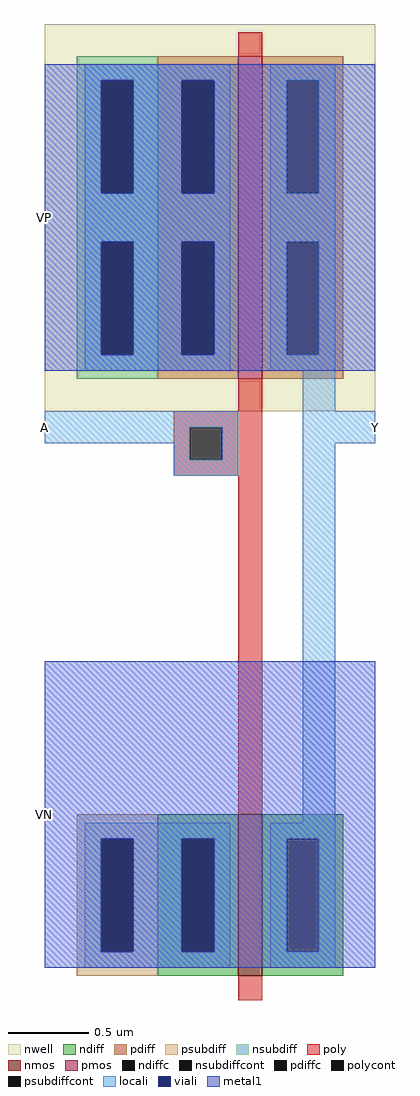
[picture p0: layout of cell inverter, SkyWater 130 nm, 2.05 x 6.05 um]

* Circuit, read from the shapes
.subckt inverter A Y VP VN
XM1 Y A VN VN sky130_fd_pr__nfet_01v8 w=1 l=0.15
XM2 Y A VP VP sky130_fd_pr__pfet_01v8 w=2 l=0.15
.ends

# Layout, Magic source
magic
tech sky130A
<< nwell >>
rect -120 350 85 590
<< nmos >>
rect 0 0 15 100
<< pmos >>
rect 0 370 15 570
<< ndiff >>
rect -50 85 0 100
rect -50 15 -35 85
rect -15 15 0 85
rect -50 0 0 15
rect 15 85 65 100
rect 15 15 30 85
rect 50 15 65 85
rect 15 0 65 15
<< pdiff >>
rect -50 555 0 570
rect -50 485 -35 555
rect -15 485 0 555
rect -50 455 0 485
rect -50 385 -35 455
rect -15 385 0 455
rect -50 370 0 385
rect 15 555 65 570
rect 15 485 30 555
rect 50 485 65 555
rect 15 455 65 485
rect 15 385 30 455
rect 50 385 65 455
rect 15 370 65 385
<< ndiffc >>
rect -35 15 -15 85
rect 30 15 50 85
<< pdiffc >>
rect -35 485 -15 555
rect -35 385 -15 455
rect 30 485 50 555
rect 30 385 50 455
<< psubdiff >>
rect -100 85 -50 100
rect -100 15 -85 85
rect -65 15 -50 85
rect -100 0 -50 15
<< nsubdiff >>
rect -100 555 -50 570
rect -100 485 -85 555
rect -65 485 -50 555
rect -100 455 -50 485
rect -100 385 -85 455
rect -65 385 -50 455
rect -100 370 -50 385
<< psubdiffcont >>
rect -85 15 -65 85
<< nsubdiffcont >>
rect -85 485 -65 555
rect -85 385 -65 455
<< poly >>
rect 0 570 15 585
rect 0 350 15 370
rect -40 340 15 350
rect -40 320 -30 340
rect -10 320 15 340
rect -40 310 15 320
rect 0 100 15 310
rect 0 -15 15 0
<< polycont >>
rect -30 320 -10 340
<< locali >>
rect -95 555 -5 565
rect -95 485 -85 555
rect -65 485 -35 555
rect -15 485 -5 555
rect -95 455 -5 485
rect -95 385 -85 455
rect -65 385 -35 455
rect -15 385 -5 455
rect -95 375 -5 385
rect 20 555 60 565
rect 20 485 30 555
rect 50 485 60 555
rect 20 455 60 485
rect 20 385 30 455
rect 50 385 60 455
rect 20 375 60 385
rect 40 350 60 375
rect -120 340 0 350
rect -120 330 -30 340
rect -40 320 -30 330
rect -10 320 0 340
rect -40 310 0 320
rect 40 330 85 350
rect 40 95 60 330
rect -95 85 -5 95
rect -95 15 -85 85
rect -65 15 -35 85
rect -15 15 -5 85
rect -95 5 -5 15
rect 20 85 60 95
rect 20 15 30 85
rect 50 15 60 85
rect 20 5 60 15
<< viali >>
rect -85 485 -65 555
rect -35 485 -15 555
rect -85 385 -65 455
rect -35 385 -15 455
rect -85 15 -65 85
rect -35 15 -15 85
<< metal1 >>
rect -120 555 85 565
rect -120 485 -85 555
rect -65 485 -35 555
rect -15 485 85 555
rect -120 455 85 485
rect -120 385 -85 455
rect -65 385 -35 455
rect -15 385 85 455
rect -120 375 85 385
rect -120 85 85 195
rect -120 15 -85 85
rect -65 15 -35 85
rect -15 15 85 85
rect -120 5 85 15
<< labels >>
rlabel locali -120 340 -120 340 7 A
port 1 w
rlabel locali 85 340 85 340 3 Y
port 2 e
rlabel metal1 -120 470 -120 470 7 VP
port 3 w
rlabel metal1 -120 100 -120 100 7 VN
port 4 w
<< end >>
